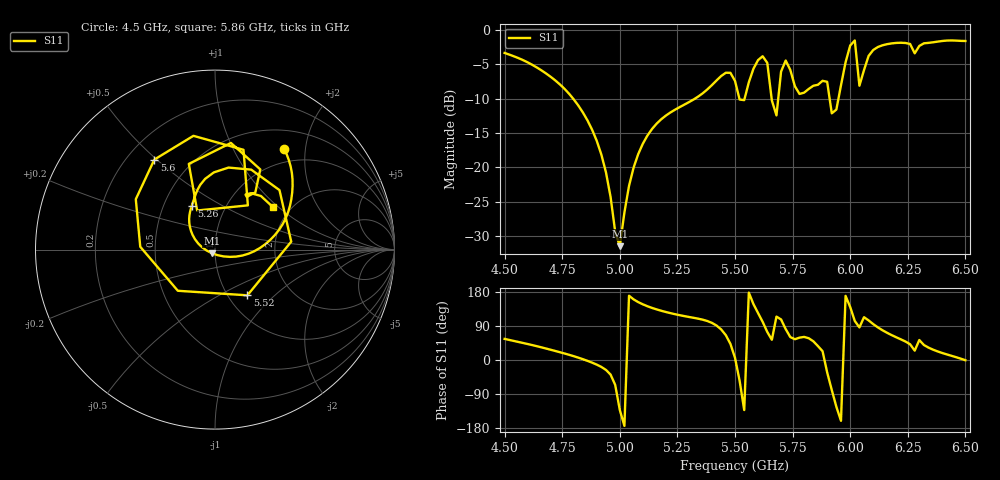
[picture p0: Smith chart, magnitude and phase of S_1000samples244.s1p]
! TOUCHSTONE file generated by CST MICROWAVE STUDIO
! Date and time: Thu Oct 27 12:18:24 2022
! Project name: L.cst
! Parameters = {Di=1.27; Epsilon_r=1.56; InnerDiameter=1.27; Length=2; Lf=10; Lg=60; OuterConductorThickness=0.2921; OuterDiameter=3.6; Wf=3; Wp=41.2; de=1.5; df=6.8; g=0.8; gx=2.39133; gy=2.04257; h=2.34; hf=1.524; px=14.0124; py=14.9322; w=9.7; wx=11.6211; wy=12.8896}
! Header version: 2018
! Port assignment regex: !\s*Touchstone port\s*([0-9]+)\s*=\s*(CST MWS port|CST DS port)\s*([0-9]+|Zmin|Zmax)\s*\(\"(.*)\"\)(\s*mode\s*([0-9]+))?.*
! Touchstone port assignment:
! Touchstone port 1 = CST MWS port 1 ("")
# GHz S DB R 50
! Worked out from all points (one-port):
!   101 points, 4.5 GHz to 6.5 GHz, reference 50 ohm
!   lowest |S11| = -31.5 dB at 5 GHz (marker M1), VSWR 1.05, Z = 48.2 - j1.92 ohm
!   |S11| at or under -10 dB: 4.798 GHz to 5.325 GHz (527.3 MHz wide, 10.4 % of centre); 5.519182 GHz to 5.541542 GHz (22.36 MHz wide, 0.404 % of centre); 5.659 GHz to 5.688 GHz (28.51 MHz wide, 0.503 % of centre) (the widest 3 of 4)
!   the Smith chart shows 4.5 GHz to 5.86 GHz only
!   S11 on the Smith chart (normalised r, x): 4.5 GHz: 0.77, +1.62; 5.26 GHz: 0.69, +0.36; 5.52 GHz: 1.23, -0.69; 5.6 GHz: 0.31, +0.49; 5.86 GHz: 1.62, +0.92
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4.5  -3.32 55.6
4.76  -8.55 17.2
4.9  -16.14 -12.3
5  -31.48 -131.8
5.08  -18.06 152.8
5.26  -11.21 118.2
5.46  -6.21 65.6
5.5  -7.39 5.9
5.52  -10.11 -54.7
5.56  -7.60 177.8
5.6  -4.37 124.0
5.64  -4.76 74.1
5.68  -12.42 114.5
5.7  -6.03 107.0
5.72  -4.43 81.5
5.76  -8.18 54.8
5.86  -7.96 36.7
5.9  -7.53 -32.7
5.94  -11.57 -123.6
6  -2.24 139.8
6.02  -1.50 102.9
6.04  -8.10 86.1
6.06  -5.81 113.0
6.12  -2.46 86.1
6.26  -2.01 41.6
6.28  -3.38 24.7
6.3  -2.30 52.7
6.5  -1.58 -0.6
